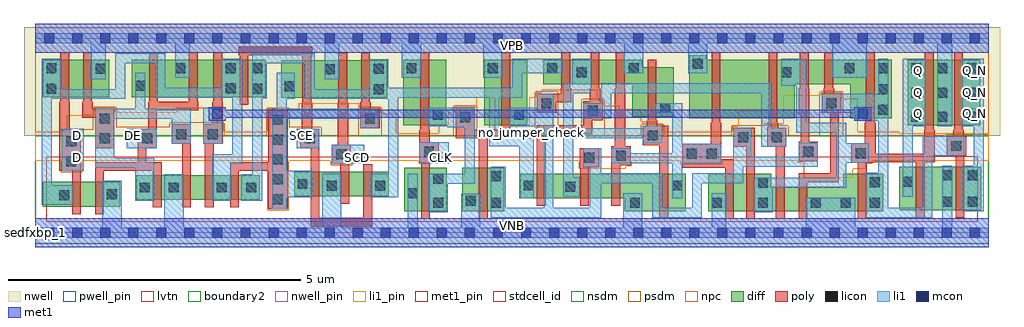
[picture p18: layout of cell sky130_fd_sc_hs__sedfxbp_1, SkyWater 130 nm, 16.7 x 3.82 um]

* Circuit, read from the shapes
.subckt sky130_fd_sc_hs__sedfxbp_1 CLK D DE Q Q_N SCD SCE VGND VNB VPB VPWR
XM1 n1 D n2 VNB sky130_fd_pr__nfet_01v8_lvt w=0.42 l=0.15
XM2 VGND DE n1 VNB sky130_fd_pr__nfet_01v8_lvt w=0.42 l=0.15
XM3 VGND DE n3 VNB sky130_fd_pr__nfet_01v8_lvt w=0.42 l=0.15
XM4 n4 n3 VGND VNB sky130_fd_pr__nfet_01v8_lvt w=0.42 l=0.15
XM5 n2 n5 n4 VNB sky130_fd_pr__nfet_01v8_lvt w=0.42 l=0.15
XM6 n6 n7 n2 VNB sky130_fd_pr__nfet_01v8_lvt w=0.42 l=0.15
XM7 VGND SCE n7 VNB sky130_fd_pr__nfet_01v8_lvt w=0.42 l=0.15
XM8 n8 SCD VGND VNB sky130_fd_pr__nfet_01v8_lvt w=0.42 l=0.15
XM9 n6 SCE n8 VNB sky130_fd_pr__nfet_01v8_lvt w=0.42 l=0.15
XM10 n9 CLK VGND VNB sky130_fd_pr__nfet_01v8_lvt w=0.74 l=0.15
XM11 n10 n9 VGND VNB sky130_fd_pr__nfet_01v8_lvt w=0.74 l=0.15
XM12 n11 n9 n6 VNB sky130_fd_pr__nfet_01v8_lvt w=0.42 l=0.15
XM13 n12 n10 n11 VNB sky130_fd_pr__nfet_01v8_lvt w=0.42 l=0.15
XM14 VGND n13 n12 VNB sky130_fd_pr__nfet_01v8_lvt w=0.42 l=0.15
XM15 n13 n11 VGND VNB sky130_fd_pr__nfet_01v8_lvt w=0.64 l=0.15
XM16 n14 n13 VGND VNB sky130_fd_pr__nfet_01v8_lvt w=0.64 l=0.15
XM17 n15 n10 n14 VNB sky130_fd_pr__nfet_01v8_lvt w=0.64 l=0.15
XM18 n16 n9 n15 VNB sky130_fd_pr__nfet_01v8_lvt w=0.42 l=0.15
XM19 VGND n5 n16 VNB sky130_fd_pr__nfet_01v8_lvt w=0.42 l=0.15
XM20 n5 n15 VGND VNB sky130_fd_pr__nfet_01v8_lvt w=0.64 l=0.15
XM21 VGND n15 Q VNB sky130_fd_pr__nfet_01v8_lvt w=0.74 l=0.15
XM22 Q_N n5 VGND VNB sky130_fd_pr__nfet_01v8_lvt w=0.74 l=0.15
XM23 n17 D n2 VPB sky130_fd_pr__pfet_01v8 w=0.64 l=0.15
XM24 VPWR n3 n17 VPB sky130_fd_pr__pfet_01v8 w=0.64 l=0.15
XM25 VPWR DE n3 VPB sky130_fd_pr__pfet_01v8 w=0.64 l=0.15
XM26 n18 DE VPWR VPB sky130_fd_pr__pfet_01v8 w=0.64 l=0.15
XM27 n2 n5 n18 VPB sky130_fd_pr__pfet_01v8 w=0.64 l=0.15
XM28 n6 SCE n2 VPB sky130_fd_pr__pfet_01v8 w=0.64 l=0.15
XM29 VPWR SCE n7 VPB sky130_fd_pr__pfet_01v8 w=0.64 l=0.15
XM30 n19 SCD VPWR VPB sky130_fd_pr__pfet_01v8 w=0.64 l=0.15
XM31 n6 n7 n19 VPB sky130_fd_pr__pfet_01v8 w=0.64 l=0.15
XM32 n9 CLK VPWR VPB sky130_fd_pr__pfet_01v8 w=1.12 l=0.15
XM33 n10 n9 VPWR VPB sky130_fd_pr__pfet_01v8 w=1.12 l=0.15
XM34 n11 n10 n6 VPB sky130_fd_pr__pfet_01v8 w=0.42 l=0.15
XM35 n20 n9 n11 VPB sky130_fd_pr__pfet_01v8 w=0.42 l=0.15
XM36 VPWR n13 n20 VPB sky130_fd_pr__pfet_01v8 w=0.42 l=0.15
XM37 n13 n11 VPWR VPB sky130_fd_pr__pfet_01v8 w=0.84 l=0.15
XM38 n21 n13 VPWR VPB sky130_fd_pr__pfet_01v8 w=1 l=0.15
XM39 n15 n9 n21 VPB sky130_fd_pr__pfet_01v8 w=1 l=0.15
XM40 n22 n10 n15 VPB sky130_fd_pr__pfet_01v8 w=0.42 l=0.15
XM41 VPWR n5 n22 VPB sky130_fd_pr__pfet_01v8 w=0.42 l=0.15
XM42 n5 n15 VPWR VPB sky130_fd_pr__pfet_01v8 w=1 l=0.15
XM43 VPWR n15 Q VPB sky130_fd_pr__pfet_01v8 w=1.12 l=0.15
XM44 Q_N n5 VPWR VPB sky130_fd_pr__pfet_01v8 w=1.12 l=0.15
.ends

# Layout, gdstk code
import gdstk
lib = gdstk.Library(unit=1e-6, precision=1e-09)
def R(c, l, rs):  # rectangles x0, y0, x1, y1
    for r in rs: c.add(gdstk.rectangle(r[:2], r[2:], *l))
def A(c, l, x, y, w, h, nx, ny, dx, dy):  # array of equal rectangles
    R(c, l, [(x+i*dx, y+j*dy, x+i*dx+w, y+j*dy+h) for i in range(nx) for j in range(ny)])
def P(c, l, *ps):  # polygons
    for p in ps: c.add(gdstk.Polygon(p, *l))
nwell_pin = (64, 16)
nwell = (64, 20)
diff = (65, 20)
poly = (66, 20)
licon = (66, 44)
li1_pin = (67, 16)
li1 = (67, 20)
mcon = (67, 44)
met1_pin = (68, 16)
met1 = (68, 20)
stdcell_id = (81, 4)
nsdm = (93, 44)
psdm = (94, 20)
npc = (95, 20)
pwell_pin = (122, 16)
lvtn = (125, 44)
boundary2 = (236, 0)

sky130_fd_sc_hs__sedfxbp = lib.new_cell('sky130_fd_sc_hs__sedfxbp_1')
R(sky130_fd_sc_hs__sedfxbp, nwell_pin, [(0,3.085,16.32,3.33)])
R(sky130_fd_sc_hs__sedfxbp, nwell, [(-0.19,1.66,16.51,3.52)])
R(sky130_fd_sc_hs__sedfxbp, diff, [(6.32,0.37,7.04,1.11), (7.31,0.37,8.03,1.11), (14.785,0.39,16.185,1.13), (0.135,0.45,1.46,0.87), (1.73,0.565,3.84,0.985), (4.43,0.625,6.05,1.045), (6.295,1.84,7.035,2.96), (7.685,1.84,8.425,2.96), (14.93,1.84,16.17,2.96), (4.215,2.31,6.025,2.95), (0.135,2.32,1.265,2.96), (1.655,2.32,3.945,2.96)])
P(sky130_fd_sc_hs__sedfxbp, diff, [(10.925,2.83),(10.39,2.83),(10.39,2.96),(8.695,2.96),(8.695,2.54),(10.215,2.54),(10.215,1.99),(10.925,1.99)],
  [(11.13,1.01),(8.3,1.01),(8.3,0.59),(10.085,0.59),(10.085,0.37),(11.13,0.37)],
  [(14.515,1.01),(13.83,1.01),(13.83,0.79),(12.6,0.79),(12.6,1.01),(11.52,1.01),(11.52,0.37),(14.515,0.37)],
  [(14.66,2.96),(11.485,2.96),(11.485,3.04),(11.195,3.04),(11.195,1.96),(12.995,1.96),(12.995,2.54),(13.95,2.54),(13.95,1.96),(14.66,1.96)])
P(sky130_fd_sc_hs__sedfxbp, poly, [(15.93,1.65),(15.89,1.65),(15.89,1.765),(15.875,1.765),(15.875,3.09),(15.725,3.09),(15.725,1.765),(15.71,1.765),(15.71,1.65),(15.6,1.65),(15.6,1.32),(15.75,1.32),(15.75,0.26),(15.9,0.26),(15.9,1.32),(15.93,1.32)],
  [(15.39,1.765),(15.375,1.765),(15.375,3.09),(15.225,3.09),(15.225,1.765),(15.21,1.765),(15.21,1.355),(14.38,1.355),(14.38,1.885),(14.365,1.885),(14.365,3.09),(14.215,3.09),(14.215,1.885),(14.2,1.885),(14.2,1.53),(13.965,1.53),(13.965,1.2),(14.08,1.2),(14.08,0.24),(14.23,0.24),(14.23,1.2),(14.35,1.2),(14.35,1.205),(15.07,1.205),(15.07,0.26),(15.22,0.26),(15.22,1.205),(15.39,1.205)],
  [(13.79,2.38),(13.67,2.38),(13.67,2.465),(13.655,2.465),(13.655,3.09),(13.505,3.09),(13.505,2.465),(13.49,2.465),(13.49,2.38),(13.46,2.38),(13.46,2.05),(13.605,2.05),(13.605,1.015),(13.065,1.015),(13.065,0.24),(13.215,0.24),(13.215,0.865),(13.755,0.865),(13.755,2.05),(13.79,2.05)],
  [(13.395,1.555),(13.25,1.555),(13.25,2.465),(13.235,2.465),(13.235,3.09),(13.085,3.09),(13.085,2.465),(13.07,2.465),(13.07,2.04),(13.1,2.04),(13.1,1.555),(13.065,1.555),(13.065,1.225),(13.395,1.225)],
  [(12.855,1.8),(12.715,1.8),(12.715,1.885),(12.7,1.885),(12.7,3.09),(12.55,3.09),(12.55,1.885),(12.535,1.885),(12.535,1.8),(12.525,1.8),(12.525,1.47),(12.675,1.47),(12.675,0.24),(12.825,0.24),(12.825,1.47),(12.855,1.47)],
  [(12.315,1.8),(11.95,1.8),(11.95,1.47),(12.165,1.47),(12.165,0.24),(12.315,0.24)],
  [(11.955,1.26),(11.74,1.26),(11.74,1.885),(11.725,1.885),(11.725,3.09),(11.575,3.09),(11.575,1.885),(11.56,1.885),(11.56,1.52),(11.07,1.52),(11.07,1.11),(11.805,1.11),(11.805,0.24),(11.955,0.24)],
  [(10.83,1.83),(10.645,1.83),(10.645,1.915),(10.63,1.915),(10.63,2.96),(10.48,2.96),(10.48,1.915),(10.465,1.915),(10.465,1.83),(10.4,1.83),(10.4,1.5),(10.68,1.5),(10.68,0.24),(10.83,0.24)],
  [(10.19,1.485),(10.1,1.485),(10.1,2.465),(10.085,2.465),(10.085,3.09),(9.935,3.09),(9.935,2.465),(9.92,2.465),(9.92,1.485),(9.86,1.485),(9.86,0.46),(10.01,0.46),(10.01,1.155),(10.19,1.155)],
  [(9.71,2.255),(9.67,2.255),(9.67,2.465),(9.655,2.465),(9.655,3.09),(9.505,3.09),(9.505,2.465),(9.49,2.465),(9.49,2.255),(9.38,2.255),(9.38,1.84),(8.585,1.84),(8.585,1.765),(8.13,1.765),(8.13,3.09),(7.98,3.09),(7.98,1.765),(7.525,1.765),(7.525,2.14),(7.195,2.14),(7.195,1.615),(7.595,1.615),(7.595,0.24),(7.745,0.24),(7.745,1.615),(8.585,1.615),(8.585,0.46),(8.735,0.46),(8.735,1.69),(9.53,1.69),(9.53,1.925),(9.71,1.925)],
  [(9.65,1.45),(9.32,1.45),(9.32,1.12),(9.325,1.12),(9.325,0.46),(9.475,0.46),(9.475,1.12),(9.65,1.12)],
  [(9.17,2.465),(9.155,2.465),(9.155,3.09),(9.005,3.09),(9.005,2.465),(8.99,2.465),(8.99,2.38),(8.585,2.38),(8.585,2.05),(8.915,2.05),(8.915,2.23),(9.17,2.23)],
  [(6.905,1.55),(6.755,1.55),(6.755,1.765),(6.74,1.765),(6.74,3.09),(6.59,3.09),(6.59,1.765),(6.575,1.765),(6.575,1.22),(6.605,1.22),(6.605,0.24),(6.755,0.24),(6.755,1.22),(6.905,1.22)],
  [(5.895,2.12),(5.745,2.12),(5.745,2.235),(5.73,2.235),(5.73,3.08),(5.58,3.08),(5.58,2.235),(5.565,2.235),(5.565,1.79),(5.895,1.79)],
  [(5.765,1.175),(5.615,1.175),(5.615,0.255),(4.865,0.255),(4.865,1.78),(4.74,1.78),(4.74,2.235),(4.725,2.235),(4.725,3.025),(4.74,3.025),(4.74,3.185),(3.485,3.185),(3.485,3.035),(3.5,3.035),(3.5,2.19),(3.65,2.19),(3.65,3.035),(4.56,3.035),(4.56,3.025),(4.575,3.025),(4.575,2.235),(4.56,2.235),(4.56,1.78),(4.535,1.78),(4.535,1.45),(4.715,1.45),(4.715,0.105),(5.765,0.105)],
  [(5.405,1.51),(5.355,1.51),(5.355,2.235),(5.34,2.235),(5.34,3.08),(5.19,3.08),(5.19,2.235),(5.175,2.235),(5.175,1.51),(5.075,1.51),(5.075,1.18),(5.225,1.18),(5.225,0.495),(5.375,0.495),(5.375,1.18),(5.405,1.18)],
  [(4.32,2.1),(3.99,2.1),(3.99,1.21),(3.335,1.21),(3.335,0.435),(3.485,0.435),(3.485,1.06),(3.99,1.06),(3.99,0.41),(4.32,0.41)],
  [(3.215,2.245),(3.2,2.245),(3.2,3.09),(3.05,3.09),(3.05,2.245),(3.035,2.245),(3.035,1.855),(2.875,1.855),(2.875,1.525),(2.905,1.525),(2.905,0.435),(3.055,0.435),(3.055,1.525),(3.215,1.525)],
  [(2.795,2.245),(2.78,2.245),(2.78,3.09),(2.63,3.09),(2.63,2.245),(2.1,2.245),(2.1,3.09),(1.95,3.09),(1.95,2.245),(1.935,2.245),(1.935,1.78),(1.755,1.78),(1.755,1.21),(1.025,1.21),(1.025,0.32),(1.175,0.32),(1.175,1.06),(2.015,1.06),(2.015,0.435),(2.165,0.435),(2.165,1.21),(1.905,1.21),(1.905,1.45),(2.085,1.45),(2.085,2.095),(2.795,2.095)],
  [(2.665,1.855),(2.335,1.855),(2.335,1.525),(2.515,1.525),(2.515,0.435),(2.665,0.435)],
  [(1.355,2.12),(0.985,2.12),(0.985,2.245),(0.97,2.245),(0.97,3.09),(0.82,3.09),(0.82,2.245),(0.805,2.245),(0.805,1.97),(1.025,1.97),(1.025,1.45),(1.355,1.45)],
  [(0.785,1.73),(0.595,1.73),(0.595,2.245),(0.58,2.245),(0.58,3.09),(0.43,3.09),(0.43,2.245),(0.415,2.245),(0.415,1.06),(0.635,1.06),(0.635,0.32),(0.785,0.32)])
A(sky130_fd_sc_hs__sedfxbp, licon, 4.07, 0.49, 0.17, 0.17, 1, 5, 0, 0.34)
A(sky130_fd_sc_hs__sedfxbp, licon, 14.99, 1.9, 0.17, 0.17, 1, 3, 0, 0.415)
A(sky130_fd_sc_hs__sedfxbp, licon, 15.44, 1.9, 0.17, 0.17, 1, 3, 0, 0.415)
A(sky130_fd_sc_hs__sedfxbp, licon, 15.94, 1.9, 0.17, 0.17, 1, 3, 0, 0.415)
A(sky130_fd_sc_hs__sedfxbp, licon, 14.43, 2.02, 0.17, 0.17, 1, 3, 0, 0.355)
R(sky130_fd_sc_hs__sedfxbp, licon, [(6.81,0.43,6.98,0.6), (7.8,0.43,7.97,0.6), (10.18,0.43,10.35,0.6), (11.58,0.43,11.75,0.6), (12.37,0.43,12.54,0.6), (13.27,0.43,13.44,0.6), (13.785,0.43,13.955,0.6), (14.285,0.43,14.455,0.6), (15.525,0.45,15.695,0.62), (15.955,0.45,16.125,0.62), (7.37,0.465,7.54,0.635), (0.41,0.56,0.58,0.73), (1.23,0.575,1.4,0.745), (6.38,0.595,6.55,0.765), (1.79,0.69,1.96,0.86), (2.29,0.69,2.46,0.86), (3.11,0.69,3.28,0.86), (3.61,0.69,3.78,0.86), (9.07,0.7,9.24,0.87), (4.99,0.72,5.16,0.89), (5.82,0.72,5.99,0.89), (8.36,0.725,8.53,0.895), (10.9,0.725,11.07,0.895), (4.49,0.75,4.66,0.92), (12.37,0.77,12.54,0.94), (14.285,0.78,14.455,0.95), (14.845,0.785,15.015,0.955), (6.81,0.84,6.98,1.01), (7.8,0.88,7.97,1.05), (15.525,0.9,15.695,1.07), (15.955,0.9,16.125,1.07), (0.535,1.14,0.705,1.31), (9.4,1.2,9.57,1.37), (9.94,1.235,10.11,1.405), (5.155,1.26,5.325,1.43), (11.15,1.27,11.32,1.44), (11.49,1.27,11.66,1.44), (14.045,1.28,14.215,1.45), (6.655,1.3,6.825,1.47), (13.145,1.305,13.315,1.475), (15.68,1.4,15.85,1.57), (0.535,1.48,0.705,1.65), (1.105,1.53,1.275,1.7), (1.835,1.53,2.005,1.7), (4.615,1.53,4.785,1.7), (12.03,1.55,12.2,1.72), (12.605,1.55,12.775,1.72), (10.48,1.58,10.65,1.75), (2.415,1.605,2.585,1.775), (2.955,1.605,3.125,1.775), (1.105,1.87,1.275,2.04), (5.645,1.87,5.815,2.04), (7.275,1.89,7.445,2.06), (6.805,1.935,6.975,2.105), (8.195,1.935,8.365,2.105), (9.46,2.005,9.63,2.175), (10.695,2.05,10.865,2.22), (8.665,2.13,8.835,2.3), (13.54,2.13,13.71,2.3), (5.795,2.37,5.965,2.54), (0.195,2.38,0.365,2.55), (3.715,2.38,3.885,2.55), (3.265,2.39,3.435,2.56), (4.275,2.425,4.445,2.595), (1.715,2.43,1.885,2.6), (9.27,2.665,9.44,2.835), (12.765,2.665,12.935,2.835), (4.955,2.715,5.125,2.885), (1.035,2.72,1.205,2.89), (5.795,2.72,5.965,2.89), (0.195,2.73,0.365,2.9), (2.395,2.73,2.565,2.9), (3.265,2.73,3.435,2.9), (3.715,2.73,3.885,2.9), (6.355,2.73,6.525,2.9), (7.745,2.73,7.915,2.9), (8.76,2.73,8.93,2.9), (10.16,2.73,10.33,2.9), (13.85,2.73,14.02,2.9), (11.255,2.81,11.425,2.98)])
A(sky130_fd_sc_hs__sedfxbp, li1_pin, 15.035, 1.95, 0.17, 0.17, 1, 3, 0, 0.37)
A(sky130_fd_sc_hs__sedfxbp, li1_pin, 15.995, 1.95, 0.17, 0.17, 1, 3, 0, 0.37)
R(sky130_fd_sc_hs__sedfxbp, li1_pin, [(0.635,1.21,0.805,1.38), (5.435,1.21,5.605,1.38), (6.875,1.21,7.045,1.38), (0.635,1.58,0.805,1.75), (1.595,1.58,1.765,1.75), (4.475,1.58,4.645,1.75)])
R(sky130_fd_sc_hs__sedfxbp, li1, [(0.455,1.06,0.835,1.78), (5.075,1.18,5.635,1.51), (6.575,1.18,7.075,1.55), (1.565,1.45,2.085,1.78), (4.475,1.45,4.865,1.78), (2.875,1.525,3.205,2.14)])
P(sky130_fd_sc_hs__sedfxbp, li1, [(0,3.245),(0,3.415),(16.32,3.415),(16.32,3.245),(15.69,3.245),(15.69,1.82),(15.44,1.82),(15.44,3.245),(14.23,3.245),(14.23,2.65),(13.64,2.65),(13.64,3.245),(11.505,3.245),(11.505,2.73),(11.175,2.73),(11.175,3.245),(10.41,3.245),(10.41,2.73),(10.08,2.73),(10.08,3.245),(7.995,3.245),(7.995,2.65),(7.665,2.65),(7.665,3.245),(6.605,3.245),(6.605,2.65),(6.275,2.65),(6.275,3.245),(5.205,3.245),(5.205,2.63),(4.955,2.63),(4.955,3.245),(2.645,3.245),(2.645,2.65),(2.395,2.65),(2.395,3.245),(1.205,3.245),(1.205,2.63),(0.955,2.63),(0.955,3.245)],
  [(0,-0.085),(0,0.085),(1.15,0.085),(1.15,0.89),(1.48,0.89),(1.48,0.085),(2.21,0.085),(2.21,1.005),(2.54,1.005),(2.54,0.085),(4.91,0.085),(4.91,1.01),(5.24,1.01),(5.24,0.085),(6.38,0.085),(6.38,1.01),(6.55,1.01),(6.55,0.085),(7.29,0.085),(7.29,0.67),(7.62,0.67),(7.62,0.085),(10.065,0.085),(10.065,0.68),(10.39,0.68),(10.39,0.085),(11.58,0.085),(11.58,0.68),(11.83,0.68),(11.83,0.085),(13.19,0.085),(13.19,0.6),(14.035,0.6),(14.035,0.085),(15.525,0.085),(15.525,1.15),(15.695,1.15),(15.695,0.085),(16.32,0.085),(16.32,-0.085)],
  [(15.86,1.82),(15.86,2.98),(16.235,2.98),(16.235,0.37),(15.875,0.37),(15.875,1.15),(16.065,1.15),(16.065,1.82)],
  [(14.845,2.98),(15.24,2.98),(15.24,1.82),(15.015,1.82),(15.015,0.62),(14.845,0.62)],
  [(8.05,0.425),(8.7,0.425),(8.7,1.82),(8.115,1.82),(8.115,2.14),(8.585,2.14),(8.585,2.38),(8.87,2.38),(8.87,0.425),(9.49,0.425),(9.49,1.12),(9.38,1.12),(9.38,1.45),(9.69,1.45),(9.69,1.02),(10.73,1.02),(10.73,0.425),(11.24,0.425),(11.24,1.02),(11.95,1.02),(11.95,1.8),(12.255,1.8),(12.255,1.3),(13.065,1.3),(13.065,1.545),(13.395,1.545),(13.395,1.13),(12.12,1.13),(12.12,0.85),(11.41,0.85),(11.41,0.255),(10.56,0.255),(10.56,0.85),(9.69,0.85),(9.69,0.255),(7.8,0.255),(7.8,1.13),(8.05,1.13)],
  [(5.715,2.46),(5.715,2.97),(6.045,2.97),(6.045,2.48),(8.165,2.48),(8.165,2.98),(9.02,2.98),(9.02,2.73),(8.335,2.73),(8.335,2.31),(7.945,2.31),(7.945,1.65),(8.53,1.65),(8.53,0.595),(8.28,0.595),(8.28,1.48),(7.775,1.48),(7.775,2.31),(6.21,2.31),(6.21,0.605),(5.74,0.605),(5.74,1.01),(6.04,1.01),(6.04,2.29),(4.615,2.29),(4.615,2.905),(3.965,2.905),(3.965,2.3),(3.885,2.3),(3.885,0.545),(3.53,0.545),(3.53,1.005),(3.715,1.005),(3.715,3.075),(4.785,3.075),(4.785,2.46)],
  [(1.71,0.545),(1.71,1.11),(1.025,1.11),(1.025,2.12),(1.715,2.12),(1.715,2.735),(1.885,2.735),(1.885,2.12),(2.665,2.12),(2.665,1.525),(2.335,1.525),(2.335,1.95),(1.355,1.95),(1.355,1.28),(2.04,1.28),(2.04,0.545)],
  [(7.055,1.81),(7.055,1.82),(6.725,1.82),(6.725,2.14),(7.525,2.14),(7.525,0.84),(7.06,0.84),(7.06,0.35),(6.73,0.35),(6.73,1.01),(7.355,1.01),(7.355,1.81)],
  [(0.285,2.29),(0.285,0.81),(0.66,0.81),(0.66,0.48),(0.115,0.48),(0.115,2.98),(0.445,2.98),(0.445,2.46),(1.375,2.46),(1.375,3.075),(2.225,3.075),(2.225,2.48),(3.185,2.48),(3.185,2.98),(3.545,2.98),(3.545,1.175),(3.36,1.175),(3.36,0.545),(3.03,0.545),(3.03,1.345),(3.375,1.345),(3.375,2.31),(2.055,2.31),(2.055,2.905),(1.545,2.905),(1.545,2.29)],
  [(14.43,1.03),(14.43,1.92),(14.045,1.92),(14.045,2.055),(13.46,2.055),(13.46,2.38),(14.43,2.38),(14.43,2.98),(14.6,2.98),(14.6,0.425),(15.185,0.425),(15.185,1.65),(15.895,1.65),(15.895,1.32),(15.355,1.32),(15.355,0.255),(14.205,0.255),(14.205,1.03)],
  [(13.705,0.94),(13.705,1.715),(13.025,1.715),(13.025,2.52),(12.765,2.52),(12.765,2.98),(13.195,2.98),(13.195,1.885),(13.875,1.885),(13.875,1.53),(14.26,1.53),(14.26,1.2),(13.875,1.2),(13.875,0.77),(12.62,0.77),(12.62,0.35),(12.29,0.35),(12.29,0.94)],
  [(9.69,2.56),(12.595,2.56),(12.595,1.8),(12.855,1.8),(12.855,1.47),(12.425,1.47),(12.425,2.39),(9.86,2.39),(9.86,1.96),(9.38,1.96),(9.38,2.22),(9.69,2.22)],
  [(5.565,1.95),(4.305,1.95),(4.305,1.065),(4.74,1.065),(4.74,0.605),(4.305,0.605),(4.305,0.41),(4.055,0.41),(4.055,2.12),(4.135,2.12),(4.135,2.735),(4.445,2.735),(4.445,2.29),(4.305,2.29),(4.305,2.12),(5.87,2.12),(5.87,1.79),(5.565,1.79)],
  [(10.19,1.36),(10.9,1.36),(10.9,2.05),(10.615,2.05),(10.615,2.22),(11.07,2.22),(11.07,1.52),(11.74,1.52),(11.74,1.19),(11.07,1.19),(11.07,0.595),(10.9,0.595),(10.9,1.19),(9.86,1.19),(9.86,1.45),(10.19,1.45)],
  [(9.21,1.79),(10.4,1.79),(10.4,1.83),(10.73,1.83),(10.73,1.53),(10.4,1.53),(10.4,1.62),(9.21,1.62),(9.21,0.95),(9.32,0.95),(9.32,0.62),(9.04,0.62),(9.04,2.56),(9.19,2.56),(9.19,2.98),(9.52,2.98),(9.52,2.39),(9.21,2.39)])
A(sky130_fd_sc_hs__sedfxbp, mcon, 0.155, -0.085, 0.17, 0.17, 34, 2, 0.48, 3.33)
R(sky130_fd_sc_hs__sedfxbp, mcon, [(3.035,1.95,3.205,2.12), (14.075,1.95,14.245,2.12)])
R(sky130_fd_sc_hs__sedfxbp, met1_pin, [(0,0,16.32,0.245), (0,3.085,16.32,3.33)])
R(sky130_fd_sc_hs__sedfxbp, met1, [(0,-0.245,16.32,0.245), (0,3.085,16.32,3.575)])
P(sky130_fd_sc_hs__sedfxbp, met1, [(3.265,2.105),(14.015,2.105),(14.015,2.15),(14.305,2.15),(14.305,1.92),(14.015,1.92),(14.015,1.965),(3.265,1.965),(3.265,1.92),(2.975,1.92),(2.975,2.15),(3.265,2.15)])
R(sky130_fd_sc_hs__sedfxbp, stdcell_id, [(0,0,16.32,3.33)])
R(sky130_fd_sc_hs__sedfxbp, nsdm, [(0,-0.19,16.32,1.66)])
P(sky130_fd_sc_hs__sedfxbp, psdm, [(16.32,3.52),(0,3.52),(0,1.66),(0.425,1.66),(0.425,1.76),(0.995,1.76),(0.995,2.15),(1.385,2.15),(1.385,1.81),(2.305,1.81),(2.305,1.885),(3.235,1.885),(3.235,1.66),(3.96,1.66),(3.96,2.13),(4.35,2.13),(4.35,1.81),(4.895,1.81),(4.895,1.66),(5.535,1.66),(5.535,2.15),(5.925,2.15),(5.925,1.66),(7.165,1.66),(7.165,2.17),(7.555,2.17),(7.555,1.66),(8.555,1.66),(8.555,2.41),(8.945,2.41),(8.945,1.66),(9.35,1.66),(9.35,2.285),(9.74,2.285),(9.74,1.66),(10.37,1.66),(10.37,1.86),(10.76,1.86),(10.76,1.66),(11.92,1.66),(11.92,1.83),(12.885,1.83),(12.885,1.66),(13.43,1.66),(13.43,2.41),(13.82,2.41),(13.82,1.66),(15.57,1.66),(15.57,1.68),(16.32,1.68)])
P(sky130_fd_sc_hs__sedfxbp, npc, [(16.32,1.7),(14.79,1.7),(14.79,1.73),(14.075,1.73),(14.075,2.295),(13.81,2.295),(13.81,2.4),(13.44,2.4),(13.44,2.35),(12.805,2.35),(12.805,1.87),(12.445,1.87),(12.445,2.085),(12.035,2.085),(12.035,1.82),(11.93,1.82),(11.93,1.73),(10.75,1.73),(10.75,1.85),(10.645,1.85),(10.645,1.9),(10.375,1.9),(10.375,2.115),(9.995,2.115),(9.995,2.17),(9.73,2.17),(9.73,2.275),(9.625,2.275),(9.625,2.45),(8.67,2.45),(8.67,2.4),(8.565,2.4),(8.565,2.32),(8.455,2.32),(8.455,1.845),(8.235,1.845),(8.235,1.75),(7.875,1.75),(7.875,2.32),(7.545,2.32),(7.545,2.16),(7.175,2.16),(7.175,2.055),(7.065,2.055),(7.065,1.845),(6.91,1.845),(6.91,1.7),(6.18,1.7),(6.18,2.035),(5.915,2.035),(5.915,2.14),(5.545,2.14),(5.545,2.22),(4.515,2.22),(4.515,2.12),(3.97,2.12),(3.97,1.73),(3.225,1.73),(3.225,1.875),(3.12,1.875),(3.12,2.14),(2.42,2.14),(2.42,2.065),(1.375,2.065),(1.375,2.14),(1.005,2.14),(1.005,2.015),(0.54,2.015),(0.54,1.75),(0.435,1.75),(0.435,1.73),(0,1.73),(0,1.23),(0.435,1.23),(0.435,1.04),(0.805,1.04),(0.805,1.23),(3.97,1.23),(3.97,0.39),(4.34,0.39),(4.34,1.23),(5.055,1.23),(5.055,1.16),(5.425,1.16),(5.425,1.23),(6.555,1.23),(6.555,1.2),(6.925,1.2),(6.925,1.23),(9.3,1.23),(9.3,1.1),(10.105,1.1),(10.105,1.135),(10.21,1.135),(10.21,1.23),(11.05,1.23),(11.05,1.17),(11.76,1.17),(11.76,1.23),(13.045,1.23),(13.045,1.205),(13.15,1.205),(13.15,0.94),(13.99,0.94),(13.99,1.1),(14.21,1.1),(14.21,1.18),(14.315,1.18),(14.315,1.23),(16.32,1.23)])
R(sky130_fd_sc_hs__sedfxbp, pwell_pin, [(0,0,16.32,0.245)])
P(sky130_fd_sc_hs__sedfxbp, lvtn, [(16.13,1.3),(16.08,1.3),(16.08,1.31),(14.89,1.31),(14.89,1.3),(0.19,1.3),(0.19,0.19),(16.13,0.19)])
R(sky130_fd_sc_hs__sedfxbp, boundary2, [(0,0,16.32,3.33)])
sky130_fd_sc_hs__sedfxbp.add(gdstk.Label('sedfxbp_1', (0,0), layer=83, texttype=44))
sky130_fd_sc_hs__sedfxbp.add(gdstk.Label('no_jumper_check', (8.49,1.715), layer=83, texttype=44))
sky130_fd_sc_hs__sedfxbp.add(gdstk.Label('VNB', (8.16,0.123), layer=64, texttype=59))
sky130_fd_sc_hs__sedfxbp.add(gdstk.Label('VPB', (8.16,3.208), layer=64, texttype=5))
sky130_fd_sc_hs__sedfxbp.add(gdstk.Label('VPWR', (8.16,3.208), layer=68, texttype=5))
sky130_fd_sc_hs__sedfxbp.add(gdstk.Label('VGND', (8.16,0.123), layer=68, texttype=5))
sky130_fd_sc_hs__sedfxbp.add(gdstk.Label('Q_N', (16.08,2.035), layer=67, texttype=5))
sky130_fd_sc_hs__sedfxbp.add(gdstk.Label('Q_N', (16.08,2.405), layer=67, texttype=5))
sky130_fd_sc_hs__sedfxbp.add(gdstk.Label('Q_N', (16.08,2.775), layer=67, texttype=5))
sky130_fd_sc_hs__sedfxbp.add(gdstk.Label('CLK', (6.96,1.295), layer=67, texttype=5))
sky130_fd_sc_hs__sedfxbp.add(gdstk.Label('Q', (15.12,2.035), layer=67, texttype=5))
sky130_fd_sc_hs__sedfxbp.add(gdstk.Label('Q', (15.12,2.405), layer=67, texttype=5))
sky130_fd_sc_hs__sedfxbp.add(gdstk.Label('Q', (15.12,2.775), layer=67, texttype=5))
sky130_fd_sc_hs__sedfxbp.add(gdstk.Label('SCD', (5.52,1.295), layer=67, texttype=5))
sky130_fd_sc_hs__sedfxbp.add(gdstk.Label('SCE', (4.56,1.665), layer=67, texttype=5))
sky130_fd_sc_hs__sedfxbp.add(gdstk.Label('DE', (1.68,1.665), layer=67, texttype=5))
sky130_fd_sc_hs__sedfxbp.add(gdstk.Label('D', (0.72,1.295), layer=67, texttype=5))
sky130_fd_sc_hs__sedfxbp.add(gdstk.Label('D', (0.72,1.665), layer=67, texttype=5))

lib.write_gds('sky130_fd_sc_hs__sedfxbp_1.gds')
